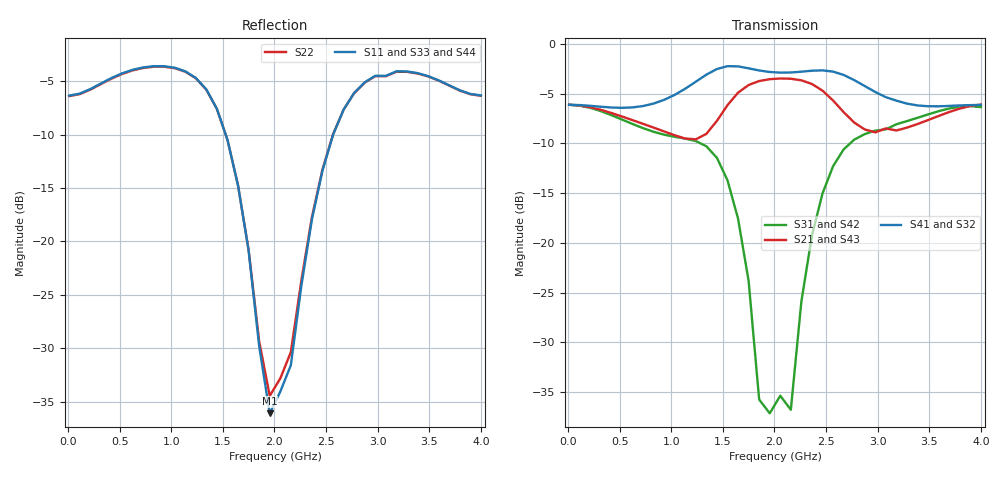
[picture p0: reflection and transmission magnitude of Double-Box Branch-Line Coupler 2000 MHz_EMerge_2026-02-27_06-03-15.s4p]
! Generated by EMerge - 4-port S-parameters
! File generated: 2026-02-27 06:03
! --- Double-Box Branch-Line Coupler 2000 MHz ---
! Substrate: RO4003C
! h = 0.508 mm
! W50 = 1.1 mm, W35 = 1.87 mm, W121 = 0.134 mm
! Lx = 22 mm, Ly = 22 mm
! L_feed = 5 mm
! Run time = 2.38 min
# GHZ S RI R 50
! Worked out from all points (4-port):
!   40 points, 10 MHz to 4 GHz, reference 50 ohm
!   strongest paths, dB at 10 MHz, 1.033 GHz, 2.056 GHz, 3.079 GHz, 4 GHz:
!     S41: -6.1, -5.1, -2.9, -5.4, -6.1
!     S32: -6.2, -5.2, -2.9, -5.4, -6.2
!     S21: -6.1, -9.2, -3.5, -8.5, -6.1
!     S43: -6.2, -9.2, -3.5, -8.5, -6.1
!     S31: -6.1, -9.3, -35.4, -8.6, -6.4
!     S42: -6.2, -9.4, -35.6, -8.6, -6.4
!   lowest |S11| = -36.1 dB at 1.954 GHz (marker M1), VSWR 1.03, Z = 51 + j1.24 ohm
!   |S11| at or under -10 dB: 1.527 GHz to 2.568 GHz (1.041 GHz wide, 50.8 % of centre)
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0.01  -0.4813 0.000969  0.4923 -0.0115  0.4925 -0.0105  0.4924 -0.0128
      0.4947 -0.0116  -0.4786 0.00101  0.4914 -0.0128  0.4914 -0.0105
      0.4948 -0.0106  0.4913 -0.0128  -0.4789 0.00101  0.4915 -0.0115
      0.4948 -0.0129  0.4913 -0.0105  0.4915 -0.0115  -0.4789 0.00102
0.7261538  -0.5095 0.4068  0.0186 -0.3944  0.0716 -0.3688  -0.0897 -0.4769
           0.0187 -0.3963  -0.5063 0.4041  -0.0884 -0.4767  0.0728 -0.3678
           0.072 -0.3706  -0.0884 -0.4766  -0.5064 0.4043  0.0194 -0.3942
           -0.0901 -0.4791  0.0728 -0.3678  0.0194 -0.3942  -0.5062 0.4046
1.34  0.2316 0.459  -0.2224 -0.2721  -0.2732 -0.1345  -0.6881 0.1163
      -0.2235 -0.2734  0.2301 0.4583  -0.6897 0.1155  -0.2715 -0.1368
      -0.2745 -0.1352  -0.6896 0.1155  0.2312 0.4569  -0.2229 -0.2728
      -0.6914 0.1169  -0.2715 -0.1368  -0.2229 -0.2728  0.2293 0.4598
1.953846  0.01 0.0121  -0.555 0.3615  0.00318 -0.0135  0.3925 0.6035
          -0.5576 0.3633  0.013 0.0138  0.3931 0.6036  0.00219 -0.0131
          0.0032 -0.0135  0.393 0.6036  0.0107 0.0111  -0.5553 0.362
          0.3944 0.6063  0.00219 -0.0131  -0.5554 0.362  0.0129 0.0111
2.363077  0.0169 -0.1258  0.1096 0.6168  0.0947 -0.0527  0.7168 -0.1404
          0.1102 0.6198  0.0187 -0.1288  0.7163 -0.142  0.0949 -0.0534
          0.0952 -0.053  0.7162 -0.1419  0.015 -0.1284  0.1099 0.6175
          0.7202 -0.1411  0.0949 -0.0534  0.1099 0.6175  0.0153 -0.1243
2.772308  -0.4646 -0.172  0.3567 0.1827  -0.1058 -0.3112  0.04 -0.6543
          0.3585 0.1835  -0.4642 -0.1702  0.0391 -0.6513  -0.1068 -0.3117
          -0.1063 -0.3127  0.0391 -0.6512  -0.4649 -0.1696  0.3577 0.1823
          0.0402 -0.6574  -0.1068 -0.3117  0.3577 0.1823  -0.4604 -0.1673
4  -0.0013 0.4824  -0.0685 -0.4889  -0.0366 0.4777  -0.0793 0.4851
   -0.0689 -0.4912  -0.00154 0.4801  -0.0822 0.4852  -0.0374 0.478
   -0.0367 0.4799  -0.0822 0.4851  -0.0025 0.4807  -0.0673 -0.4892
   -0.0797 0.4874  -0.0374 0.478  -0.0673 -0.4893  -0.000153 0.4808
